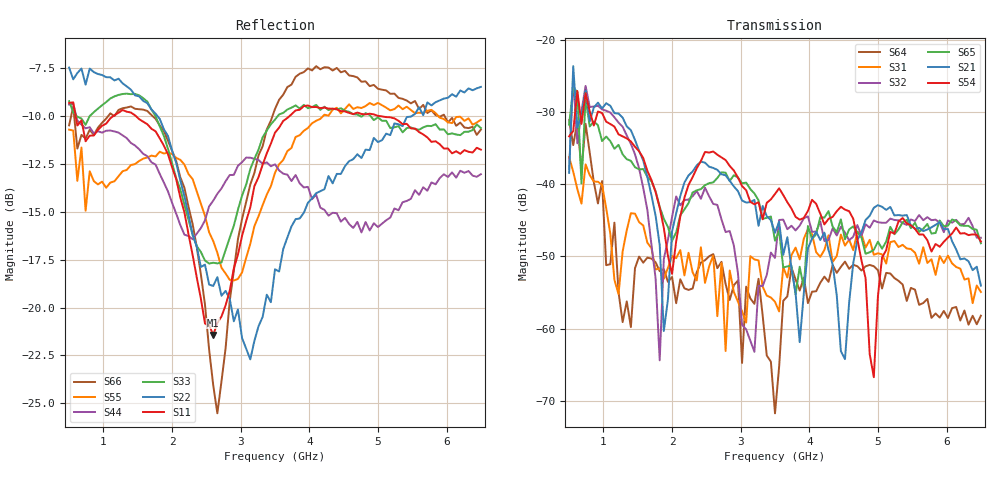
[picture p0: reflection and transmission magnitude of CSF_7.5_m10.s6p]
!Keysight Technologies,M9804A,MY58100912,A.14.10.03
!Date: Thursday, April 27, 2023 10:28:33
!Correction: S11(C  6-Port  )
!S12(C  6-Port  )
!S13(C  6-Port  )
!S14(C  6-Port  )
!S15(C  6-Port  )
!S16(C  6-Port  )
!S21(C  6-Port  )
!S22(C  6-Port  )
!S23(C  6-Port  )
!S24(C  6-Port  )
!S25(C  6-Port  )
!S26(C  6-Port  )
!S31(C  6-Port  )
!S32(C  6-Port  )
!S33(C  6-Port  )
!S34(C  6-Port  )
!S35(C  6-Port  )
!S36(C  6-Port  )
!S41(C  6-Port  )
!S42(C  6-Port  )
!S43(C  6-Port  )
!S44(C  6-Port  )
!S45(C  6-Port  )
!S46(C  6-Port  )
!S51(C  6-Port  )
!S52(C  6-Port  )
!S53(C  6-Port  )
!S54(C  6-Port  )
!S55(C  6-Port  )
!S56(C  6-Port  )
!S61(C  6-Port  )
!S62(C  6-Port  )
!S63(C  6-Port  )
!S64(C  6-Port  )
!S65(C  6-Port  )
!S66(C  6-Port  )
!S6P File: Measurement: :
# Hz S  RI  R 50
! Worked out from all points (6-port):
!   101 points, 500 MHz to 6.5 GHz, reference 50 ohm
!   strongest paths, dB at 500 MHz, 2 GHz, 3.5 GHz, 5 GHz, 6.5 GHz:
!     S54: -33.3, -52.4, -41.3, -55.5, -47.9
!     S21: -38.4, -46.5, -46.7, -42.9, -54.1
!     S65: -31.7, -47.8, -47.8, -47.9, -48.2
!     S32: -37.8, -44.5, -50.2, -45.2, -47.4
!     S31: -36.2, -49.9, -56.3, -49.5, -54.9
!     S64: -31.1, -52.8, -71.8, -51.9, -58.2
!   lowest |S11| = -21.4 dB at 2.6 GHz (marker M1), VSWR 1.19, Z = 42.5 + j2.31 ohm
!   |S11| at or under -10 dB: 594.3 MHz to 1.153 GHz (558.4 MHz wide, 63.9 % of centre); 1.465 GHz to 3.719 GHz (2.255 GHz wide, 87 % of centre); 4.989 GHz to end of sweep
